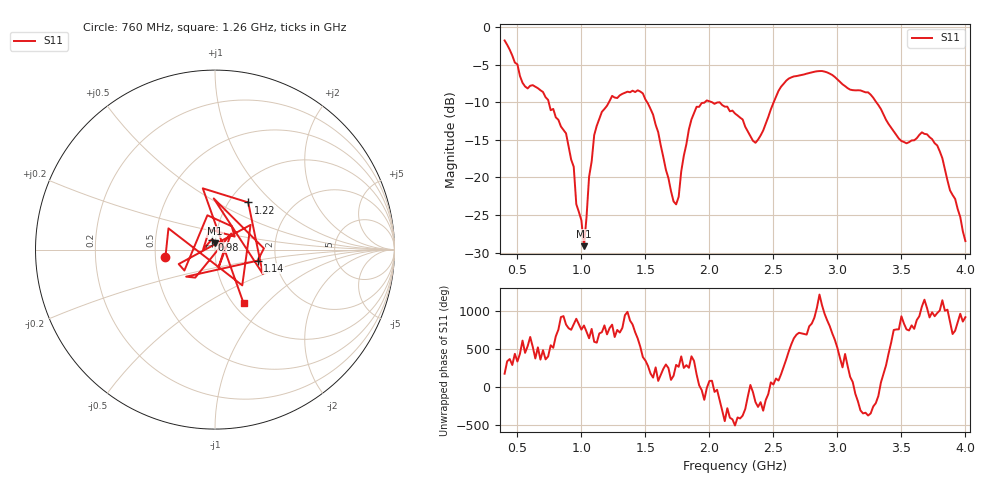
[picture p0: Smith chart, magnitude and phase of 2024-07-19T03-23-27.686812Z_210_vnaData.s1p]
!Created with skrf (http://scikit-rf.org).
# Hz S RI R 50.0
!freq ReS11 ImS11
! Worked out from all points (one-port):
!   181 points, 400 MHz to 4 GHz, reference 50 ohm
!   lowest |S11| = -29.2 dB at 1.02 GHz (marker M1), VSWR 1.07, Z = 49.9 + j3.48 ohm
!   |S11| at or under -10 dB: 744.3 MHz to 1.215 GHz (471.1 MHz wide, 48.1 % of centre); 2.019 GHz to 2.503 GHz (483.5 MHz wide, 21.4 % of centre); 3.303 GHz to end of sweep (the widest 3 of 4)
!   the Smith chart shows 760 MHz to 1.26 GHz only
!   S11 on the Smith chart (normalised r, x): 760 MHz: 0.57, -0.05; 980 MHz: 0.96, +0.11; 1.14 GHz: 1.60, -0.21; 1.22 GHz: 1.22, +0.72; 1.26 GHz: 1.11, -0.75
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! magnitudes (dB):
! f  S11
! 400 MHz  -1.8
! 540 MHz  -7.4
! 760 MHz  -11.1
! 860 MHz  -13.7
! 940 MHz  -18.6
! 960 MHz  -23.6
! 980 MHz  -24.6
! 1.02 GHz  -29.2
! 1.06 GHz  -19.9
! 1.1 GHz  -14.4
! 1.14 GHz  -12.2
! 1.22 GHz  -9.9
! 1.26 GHz  -9.4
! 1.3 GHz  -9.1
! 1.48 GHz  -8.8
! 1.6 GHz  -14.0
! 1.72 GHz  -23.2
! 1.76 GHz  -22.6
! 1.84 GHz  -13.6
! 1.9 GHz  -10.6
! 2.2 GHz  -11.5
! 2.36 GHz  -15.4
! 2.66 GHz  -6.6
! 3.1 GHz  -8.3
! 3.26 GHz  -9.0
! 3.56 GHz  -15.3
! 3.78 GHz  -15.8
! 4 GHz  -28.5
